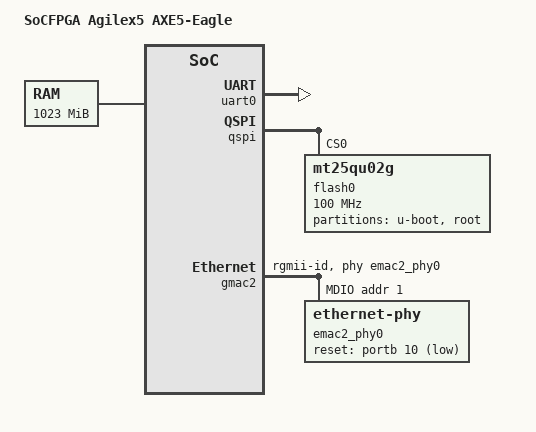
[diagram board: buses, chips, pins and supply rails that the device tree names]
// SPDX-License-Identifier:     GPL-2.0
/*
 * Copyright (C) 2024 Pengutronix, Steffen Trumtrar <kernel@pengutronix.de>
 */

#include <arm64/intel/socfpga_agilex5.dtsi>
#include "socfpga_agilex5.dtsi"

/ {
	model = "SoCFPGA Agilex5 AXE5-Eagle";
	compatible = "arrow,axe5-eagle", "intel,socfpga-agilex","altr,socfpga";

	aliases {
		serial0 = &uart0;
		ethernet0 = &gmac2;
	};

	chosen {
		stdout-path = &uart0;
	};

	memory@80100000 {
		device_type = "memory";
		reg = <0 0x80100000 0 0x3ff00000>;
	};
};

&osc1 {
	clock-frequency = <25000000>;
};

&uart0 {
	status = "okay";
};

&qspi {
	status = "okay";

	flash0: flash@0 {
		#address-cells = <1>;
		#size-cells = <1>;
		compatible = "mt25qu02g";
		reg = <0>;
		spi-max-frequency = <100000000>;

		m25p,fast-read;
		cdns,page-size = <256>;
		cdns,block-size = <16>;
		cdns,read-delay = <1>;
		cdns,tshsl-ns = <50>;
		cdns,tsd2d-ns = <50>;
		cdns,tchsh-ns = <4>;
		cdns,tslch-ns = <4>;

		partitions {
			compatible = "fixed-partitions";
			#address-cells = <1>;
			#size-cells = <1>;

			qspi_boot: partition@0 {
				label = "u-boot";
				reg = <0x0 0x04200000>;
			};

			root: partition@4200000 {
				label = "root";
				reg = <0x04200000 0x0BE00000>;
			};
		};
	};
};

&gmac2 {
	status = "okay";
	phy-mode = "rgmii-id";
	phy-handle = <&emac2_phy0>;

	max-frame-size = <9000>;

	mdio0 {
		#address-cells = <1>;
		#size-cells = <0>;
		compatible = "snps,dwmac-mdio";
		emac2_phy0: ethernet-phy@1 {
			snps,reset-gpio = <&portb 10 GPIO_ACTIVE_LOW>;
			snps,reset-delays-us = <0 10000 10000>;
			reg = <0x1>;
			adi,rx-internal-delay-ps = <2000>;
			adi,tx-internal-delay-ps = <2000>;
		};
	};
};
